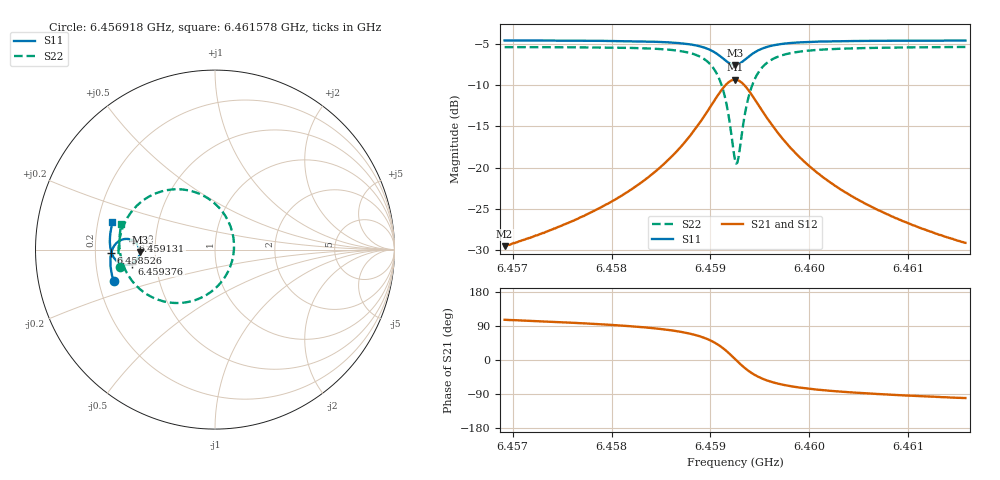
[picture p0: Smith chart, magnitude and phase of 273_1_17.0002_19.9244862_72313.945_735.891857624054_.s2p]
#  HZ  S  RI  R  50.00
! Rohde & Schwarz Vector Network Analyzer
! Rohde-Schwarz,ZNB20-2Port,1311601062101988,3.16
! Created: UTC 3/20/2024, 11:04:16 PM
! freq[Hz]  re:S11  im:S11  re:S21  im:S21  re:S12  im:S12  re:S22  im:S22
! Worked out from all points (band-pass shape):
!   401 points, 6.456918 GHz to 6.461578 GHz, reference 50 ohm
!   highest |S21| = -9.31 dB at 6.459248 GHz (marker M1); lowest = -29.6 dB at 6.456918 GHz (marker M2)
!   |S21| within 3 dB of the highest: 6.459015 GHz to 6.459481 GHz (465.8 kHz wide, 0.00721 % of centre)
!   lowest |S11| = -7.5 dB at 6.459248 GHz (marker M3), VSWR 2.45, Z = 20.4 - j0.63 ohm
!   |S11| at or under -10 dB: nowhere
!   |S22| runs from -19.5 to -5.3 dB; largest |S21 - S12| = 0.013
!   S11 on the Smith chart (normalised r, x): 6.456918 GHz: 0.26, -0.14; 6.458526 GHz: 0.27, -0.02; 6.459131 GHz: 0.37, +0.05; 6.459376 GHz: 0.37, -0.07; 6.461578 GHz: 0.26, +0.12
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6.4569181e9  -0.5649 -0.1773  -0.0093 0.032  -0.00755 0.032  -0.5311 -0.0946
6.4576986e9  -0.5799 -0.1095  -0.00608 0.0499  -0.00354 0.0494  -0.5379 -0.00382
6.4581296e9  -0.5831 -0.0665  -0.000389 0.0693  0.00301 0.0679  -0.5306 0.0639
6.4584791e9  -0.5797 -0.0251  0.0132 0.098  0.0171 0.0953  -0.5063 0.1418
6.4585257e9  -0.5783 -0.0187  0.0165 0.1033  0.0206 0.1003  -0.5 0.1551
6.4587354e9  -0.5663 0.0132  0.0424 0.135  0.0465 0.1303  -0.4518 0.2269
6.4588868e9  -0.5453 0.0395  0.0843 0.1652  0.0879 0.1588  -0.3742 0.2915
6.4590383e9  -0.4996 0.0594  0.1756 0.1845  0.1767 0.1773  -0.2073 0.3362
6.4591315e9  -0.4554 0.0495  0.2651 0.1541  0.2654 0.1481  -0.0419 0.2874
6.4591781e9  -0.4344 0.0309  0.3086 0.1119  0.3098 0.1063  0.0409 0.212
6.459248e9  -0.4197 -0.0127  0.3418 0.0159  0.3453 0.00889  0.1058 0.0338
6.4592596e9  -0.4201 -0.0207  0.3417 -0.00183  0.3455 -0.00939  0.1056 0.000665
6.4592829e9  -0.4235 -0.036  0.3363 -0.0362  0.3401 -0.0452  0.0949 -0.0646
6.4593295e9  -0.4389 -0.0618  0.3083 -0.0955  0.3104 -0.1074  0.0384 -0.1766
6.4593761e9  -0.4607 -0.0779  0.2668 -0.1363  0.266 -0.1494  -0.0455 -0.2512
6.4594693e9  -0.5036 -0.0845  0.1831 -0.1674  0.1771 -0.1789  -0.2124 -0.2976
6.4596207e9  -0.547 -0.0642  0.0961 -0.1543  0.0878 -0.1605  -0.3785 -0.2498
6.4597838e9  -0.5684 -0.0367  0.0516 -0.127  0.0441 -0.1298  -0.4587 -0.1786
6.4600285e9  -0.5811 -0.0011  0.0226 -0.0961  0.0168 -0.0966  -0.5067 -0.0968
6.460378e9  -0.5857 0.0401  0.00652 -0.0697  0.00254 -0.0692  -0.5285 -0.018
6.460809e9  -0.5838 0.0832  -0.0013 -0.0514  -0.00409 -0.0505  -0.5331 0.0504
6.4615778e9  -0.5715 0.1511  -0.00627 -0.0343  -0.00799 -0.0333  -0.5221 0.1406
